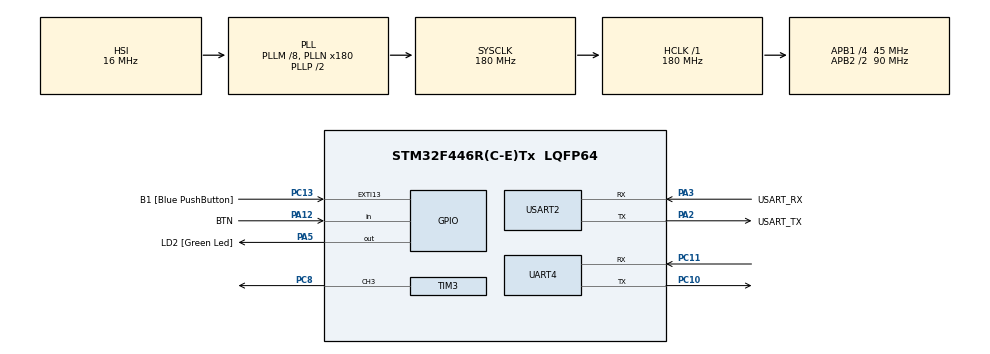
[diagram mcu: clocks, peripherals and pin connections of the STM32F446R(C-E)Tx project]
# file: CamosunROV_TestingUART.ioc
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Dma.Request0=UART4_RX
Dma.Request1=UART4_TX
Dma.UART4_RX.0.Direction=DMA_PERIPH_TO_MEMORY
Dma.UART4_RX.0.FIFOMode=DMA_FIFOMODE_DISABLE
Dma.UART4_RX.0.Instance=DMA1_Stream2
Dma.UART4_RX.0.MemDataAlignment=DMA_MDATAALIGN_BYTE
Dma.UART4_RX.0.MemInc=DMA_MINC_ENABLE
Dma.UART4_RX.0.Mode=DMA_CIRCULAR
Dma.UART4_RX.0.PeriphDataAlignment=DMA_PDATAALIGN_BYTE
Dma.UART4_RX.0.PeriphInc=DMA_PINC_DISABLE
Dma.UART4_RX.0.Priority=DMA_PRIORITY_LOW
Dma.UART4_TX.1.Direction=DMA_MEMORY_TO_PERIPH
Dma.UART4_TX.1.FIFOMode=DMA_FIFOMODE_DISABLE
Dma.UART4_TX.1.Instance=DMA1_Stream4
Dma.UART4_TX.1.MemDataAlignment=DMA_MDATAALIGN_BYTE
Dma.UART4_TX.1.MemInc=DMA_MINC_ENABLE
Dma.UART4_TX.1.Mode=DMA_NORMAL
Dma.UART4_TX.1.PeriphDataAlignment=DMA_PDATAALIGN_BYTE
Dma.UART4_TX.1.PeriphInc=DMA_PINC_DISABLE
Dma.UART4_TX.1.Priority=DMA_PRIORITY_LOW
Mcu.Family=STM32F4
Mcu.Name=STM32F446R(C-E)Tx
Mcu.Package=LQFP64
NVIC.DMA1_Stream2_IRQn=true\:0\:0\:false\:false\:true\:false\:true\:true
NVIC.DMA1_Stream4_IRQn=true\:0\:0\:false\:false\:true\:false\:true\:true
NVIC.PriorityGroup=NVIC_PRIORITYGROUP_0
NVIC.UART4_IRQn=true\:0\:0\:false\:false\:true\:true\:true\:true
PA12.GPIO_Label=BTN
PA12.Signal=GPIO_Input
PA13.GPIO_Label=TMS
PA13.Mode=Trace_Asynchronous_SW
PA13.Signal=SYS_JTMS-SWDIO
PA14.GPIO_Label=TCK
PA14.Mode=Trace_Asynchronous_SW
PA14.Signal=SYS_JTCK-SWCLK
PA2.GPIO_Label=USART_TX
PA2.Mode=Asynchronous
PA2.Signal=USART2_TX
PA3.GPIO_Label=USART_RX
PA3.Mode=Asynchronous
PA3.Signal=USART2_RX
PA5.GPIO_Label=LD2 [Green Led]
PA5.PinState=GPIO_PIN_RESET
PA5.Signal=GPIO_Output
PB3.GPIO_Label=SWO
PB3.Mode=Trace_Asynchronous_SW
PB3.Signal=SYS_JTDO-SWO
PC10.Mode=Asynchronous
PC10.Signal=UART4_TX
PC11.Mode=Asynchronous
PC11.Signal=UART4_RX
PC13.GPIO_Label=B1 [Blue PushButton]
PC13.GPIO_ModeDefaultEXTI=GPIO_MODE_IT_FALLING
PC13.Signal=GPXTI13
PC14-OSC32_IN.Mode=LSE-External-Oscillator
PC14-OSC32_IN.Signal=RCC_OSC32_IN
PC15-OSC32_OUT.Mode=LSE-External-Oscillator
PC15-OSC32_OUT.Signal=RCC_OSC32_OUT
PC8.Signal=S_TIM3_CH3
PH0-OSC_IN.Mode=HSE-External-Oscillator
PH0-OSC_IN.Signal=RCC_OSC_IN
PH1-OSC_OUT.Mode=HSE-External-Oscillator
PH1-OSC_OUT.Signal=RCC_OSC_OUT
ProjectManager.HeapSize=0x200
ProjectManager.StackSize=0x400
ProjectManager.TargetToolchain=STM32CubeIDE
RCC.48MHZClocksFreq_Value=84000000
RCC.AHBFreq_Value=180000000
RCC.APB1CLKDivider=RCC_HCLK_DIV4
RCC.APB1Freq_Value=45000000
RCC.APB1TimFreq_Value=90000000
RCC.APB2CLKDivider=RCC_HCLK_DIV2
RCC.APB2Freq_Value=90000000
RCC.APB2TimFreq_Value=180000000
RCC.CortexFreq_Value=180000000
RCC.FLatency-AdvancedSettings=FLASH_LATENCY_5
RCC.HCLKFreq_Value=180000000
RCC.HSE_VALUE=8000000
RCC.HSI_VALUE=16000000
RCC.PLLM=8
RCC.PLLN=180
RCC.SYSCLKFreq_VALUE=180000000
RCC.SYSCLKSource=RCC_SYSCLKSOURCE_PLLCLK
RCC.USBFreq_Value=180000000
RCC.VCOOutputFreq_Value=360000000
SH.S_TIM3_CH3.0=TIM3_CH3,PWM Generation3 CH3
TIM3.Channel-PWM\ Generation3\ CH3=TIM_CHANNEL_3
TIM3.Period=1000
TIM3.Prescaler=90
TIM3.TIM_MasterOutputTrigger=TIM_TRGO_UPDATE
UART4.VirtualMode=Asynchronous
USART2.VirtualMode=VM_ASYNC
VP_TIM3_VS_ClockSourceINT.Mode=Internal
board=NUCLEO-F446RE

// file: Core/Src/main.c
/* USER CODE BEGIN Header */
/**
 ******************************************************************************
 * @file           : main.c
 * @brief          : Main program body
 ******************************************************************************
 * @attention
 *
 * Copyright (c) 2026 STMicroelectronics.
 * All rights reserved.
 *
 * This software is licensed under terms that can be found in the LICENSE file
 * in the root directory of this software component.
 * If no LICENSE file comes with this software, it is provided AS-IS.
 *
 ******************************************************************************
 */
/* USER CODE END Header */
#include "main.h"

/* USER CODE BEGIN Includes */
#include <string.h>
/* USER CODE END Includes */

TIM_HandleTypeDef htim3;

UART_HandleTypeDef huart4;
UART_HandleTypeDef huart2;
DMA_HandleTypeDef hdma_uart4_rx;
DMA_HandleTypeDef hdma_uart4_tx;

/* USER CODE BEGIN PV */
#define RX_BUFFER_SIZE 64

uint8_t rxBuffer[RX_BUFFER_SIZE];   // circular DMA target
uint8_t rxPacket[RX_BUFFER_SIZE];   // snapshot of last received chunk
volatile uint16_t rxPacketLen = 0;
volatile uint8_t packetReady = 0;
/* USER CODE END PV */

void SystemClock_Config(void);
static void MX_GPIO_Init(void);
static void MX_DMA_Init(void);
static void MX_USART2_UART_Init(void);
static void MX_UART4_Init(void);
static void MX_TIM3_Init(void);

int main(void)
{

  /* MCU Configuration--------------------------------------------------------*/

  /* Reset of all peripherals, Initializes the Flash interface and the Systick. */
  HAL_Init();

  /* Configure the system clock */
  SystemClock_Config();

  /* Initialize all configured peripherals */
  MX_GPIO_Init();
  MX_DMA_Init();
  MX_USART2_UART_Init();
  MX_UART4_Init();
  MX_TIM3_Init();
  /* USER CODE BEGIN 2 */
	HAL_UARTEx_ReceiveToIdle_DMA(&huart4, rxBuffer, RX_BUFFER_SIZE);
	__HAL_DMA_DISABLE_IT(huart4.hdmarx, DMA_IT_HT); // don't care about half-transfer events
  /* USER CODE END 2 */

  /* Infinite loop */
  /* USER CODE BEGIN WHILE */
	while (1) {
		if (packetReady) {
			packetReady = 0;

			if (rxPacketLen > 0 && rxPacketLen % 2 == 0) {
			    HAL_GPIO_TogglePin(LD2_GPIO_Port, LD2_Pin); // confirms we got here

			    for (uint16_t i = 0; i < rxPacketLen; i += 2) {
			        uint8_t ledId = rxPacket[i];
			        uint8_t state = rxPacket[i + 1];
			        GPIO_PinState pinState = (state == 0x01) ? GPIO_PIN_SET : GPIO_PIN_RESET;

			        if (ledId == 0x01) {
			            HAL_GPIO_WritePin(LED_GPIO_Port, LED_Pin, pinState);  // PC8
			        } else if (ledId == 0x02) {
			            HAL_GPIO_WritePin(LD2_GPIO_Port, LD2_Pin, pinState);  // PA5
			        }
			    }
			}
		}
    /* USER CODE END WHILE */

	}
}

void SystemClock_Config(void)
{
  RCC_OscInitTypeDef RCC_OscInitStruct = {0};
  RCC_ClkInitTypeDef RCC_ClkInitStruct = {0};

  /** Configure the main internal regulator output voltage
  */
  __HAL_RCC_PWR_CLK_ENABLE();
  __HAL_PWR_VOLTAGESCALING_CONFIG(PWR_REGULATOR_VOLTAGE_SCALE1);

  /** Initializes the RCC Oscillators according to the specified parameters
  * in the RCC_OscInitTypeDef structure.
  */
  RCC_OscInitStruct.OscillatorType = RCC_OSCILLATORTYPE_HSI;
  RCC_OscInitStruct.HSIState = RCC_HSI_ON;
  RCC_OscInitStruct.HSICalibrationValue = RCC_HSICALIBRATION_DEFAULT;
  RCC_OscInitStruct.PLL.PLLState = RCC_PLL_ON;
  RCC_OscInitStruct.PLL.PLLSource = RCC_PLLSOURCE_HSI;
  RCC_OscInitStruct.PLL.PLLM = 8;
  RCC_OscInitStruct.PLL.PLLN = 180;
  RCC_OscInitStruct.PLL.PLLP = RCC_PLLP_DIV2;
  RCC_OscInitStruct.PLL.PLLQ = 2;
  RCC_OscInitStruct.PLL.PLLR = 2;
  if (HAL_RCC_OscConfig(&RCC_OscInitStruct) != HAL_OK)
  {
    Error_Handler();
  }

  /** Activate the Over-Drive mode
  */
  if (HAL_PWREx_EnableOverDrive() != HAL_OK)
  {
    Error_Handler();
  }

  /** Initializes the CPU, AHB and APB buses clocks
  */
  RCC_ClkInitStruct.ClockType = RCC_CLOCKTYPE_HCLK|RCC_CLOCKTYPE_SYSCLK
                              |RCC_CLOCKTYPE_PCLK1|RCC_CLOCKTYPE_PCLK2;
  RCC_ClkInitStruct.SYSCLKSource = RCC_SYSCLKSOURCE_PLLCLK;
  RCC_ClkInitStruct.AHBCLKDivider = RCC_SYSCLK_DIV1;
  RCC_ClkInitStruct.APB1CLKDivider = RCC_HCLK_DIV4;
  RCC_ClkInitStruct.APB2CLKDivider = RCC_HCLK_DIV2;

  if (HAL_RCC_ClockConfig(&RCC_ClkInitStruct, FLASH_LATENCY_5) != HAL_OK)
  {
    Error_Handler();
  }
}

static void MX_TIM3_Init(void)
{

  TIM_ClockConfigTypeDef sClockSourceConfig = {0};
  TIM_MasterConfigTypeDef sMasterConfig = {0};
  TIM_OC_InitTypeDef sConfigOC = {0};

  htim3.Instance = TIM3;
  htim3.Init.Prescaler = 90;
  htim3.Init.CounterMode = TIM_COUNTERMODE_UP;
  htim3.Init.Period = 1000;
  htim3.Init.ClockDivision = TIM_CLOCKDIVISION_DIV1;
  htim3.Init.AutoReloadPreload = TIM_AUTORELOAD_PRELOAD_DISABLE;
  if (HAL_TIM_Base_Init(&htim3) != HAL_OK)
  {
    Error_Handler();
  }
  sClockSourceConfig.ClockSource = TIM_CLOCKSOURCE_INTERNAL;
  if (HAL_TIM_ConfigClockSource(&htim3, &sClockSourceConfig) != HAL_OK)
  {
    Error_Handler();
  }
  if (HAL_TIM_PWM_Init(&htim3) != HAL_OK)
  {
    Error_Handler();
  }
  sMasterConfig.MasterOutputTrigger = TIM_TRGO_UPDATE;
  sMasterConfig.MasterSlaveMode = TIM_MASTERSLAVEMODE_DISABLE;
  if (HAL_TIMEx_MasterConfigSynchronization(&htim3, &sMasterConfig) != HAL_OK)
  {
    Error_Handler();
  }
  sConfigOC.OCMode = TIM_OCMODE_PWM1;
  sConfigOC.Pulse = 0;
  sConfigOC.OCPolarity = TIM_OCPOLARITY_HIGH;
  sConfigOC.OCFastMode = TIM_OCFAST_DISABLE;
  if (HAL_TIM_PWM_ConfigChannel(&htim3, &sConfigOC, TIM_CHANNEL_3) != HAL_OK)
  {
    Error_Handler();
  }
  HAL_TIM_MspPostInit(&htim3);

}

static void MX_UART4_Init(void)
{

  huart4.Instance = UART4;
  huart4.Init.BaudRate = 115200;
  huart4.Init.WordLength = UART_WORDLENGTH_8B;
  huart4.Init.StopBits = UART_STOPBITS_1;
  huart4.Init.Parity = UART_PARITY_NONE;
  huart4.Init.Mode = UART_MODE_TX_RX;
  huart4.Init.HwFlowCtl = UART_HWCONTROL_NONE;
  huart4.Init.OverSampling = UART_OVERSAMPLING_16;
  if (HAL_UART_Init(&huart4) != HAL_OK)
  {
    Error_Handler();
  }

}

static void MX_USART2_UART_Init(void)
{

  huart2.Instance = USART2;
  huart2.Init.BaudRate = 115200;
  huart2.Init.WordLength = UART_WORDLENGTH_8B;
  huart2.Init.StopBits = UART_STOPBITS_1;
  huart2.Init.Parity = UART_PARITY_NONE;
  huart2.Init.Mode = UART_MODE_TX_RX;
  huart2.Init.HwFlowCtl = UART_HWCONTROL_NONE;
  huart2.Init.OverSampling = UART_OVERSAMPLING_16;
  if (HAL_UART_Init(&huart2) != HAL_OK)
  {
    Error_Handler();
  }

}

static void MX_DMA_Init(void)
{

  /* DMA controller clock enable */
  __HAL_RCC_DMA1_CLK_ENABLE();

  /* DMA interrupt init */
  /* DMA1_Stream2_IRQn interrupt configuration */
  HAL_NVIC_SetPriority(DMA1_Stream2_IRQn, 0, 0);
  HAL_NVIC_EnableIRQ(DMA1_Stream2_IRQn);
  /* DMA1_Stream4_IRQn interrupt configuration */
  HAL_NVIC_SetPriority(DMA1_Stream4_IRQn, 0, 0);
  HAL_NVIC_EnableIRQ(DMA1_Stream4_IRQn);

}

static void MX_GPIO_Init(void)
{
  GPIO_InitTypeDef GPIO_InitStruct = {0};

  /* GPIO Ports Clock Enable */
  __HAL_RCC_GPIOC_CLK_ENABLE();
  __HAL_RCC_GPIOH_CLK_ENABLE();
  __HAL_RCC_GPIOA_CLK_ENABLE();
  __HAL_RCC_GPIOB_CLK_ENABLE();

  /*Configure GPIO pin Output Level */
  HAL_GPIO_WritePin(LD2_GPIO_Port, LD2_Pin, GPIO_PIN_RESET);

  /*Configure GPIO pin : B1_Pin */
  GPIO_InitStruct.Pin = B1_Pin;
  GPIO_InitStruct.Mode = GPIO_MODE_IT_FALLING;
  GPIO_InitStruct.Pull = GPIO_NOPULL;
  HAL_GPIO_Init(B1_GPIO_Port, &GPIO_InitStruct);

  /*Configure GPIO pin : LD2_Pin */
  GPIO_InitStruct.Pin = LD2_Pin;
  GPIO_InitStruct.Mode = GPIO_MODE_OUTPUT_PP;
  GPIO_InitStruct.Pull = GPIO_NOPULL;
  GPIO_InitStruct.Speed = GPIO_SPEED_FREQ_LOW;
  HAL_GPIO_Init(LD2_GPIO_Port, &GPIO_InitStruct);

  /*Configure GPIO pin : BTN_Pin */
  GPIO_InitStruct.Pin = BTN_Pin;
  GPIO_InitStruct.Mode = GPIO_MODE_INPUT;
  GPIO_InitStruct.Pull = GPIO_NOPULL;
  HAL_GPIO_Init(BTN_GPIO_Port, &GPIO_InitStruct);

}

/* USER CODE BEGIN 4 */
void HAL_UARTEx_RxEventCallback(UART_HandleTypeDef *huart, uint16_t Size) {
	if (huart->Instance == UART4) {
		memcpy(rxPacket, rxBuffer, Size);
		rxPacketLen = Size;
		packetReady = 1;

		HAL_UARTEx_ReceiveToIdle_DMA(&huart4, rxBuffer, RX_BUFFER_SIZE);
		__HAL_DMA_DISABLE_IT(huart4.hdmarx, DMA_IT_HT);
	}
}
void HAL_UART_ErrorCallback(UART_HandleTypeDef *huart) {
	if (huart->Instance == UART4) {
		HAL_UARTEx_ReceiveToIdle_DMA(&huart4, rxBuffer, RX_BUFFER_SIZE);
		__HAL_DMA_DISABLE_IT(huart4.hdmarx, DMA_IT_HT);
	}
}
/* USER CODE END 4 */

void Error_Handler(void)
{
	__disable_irq();
	while (1) {
	}
}
